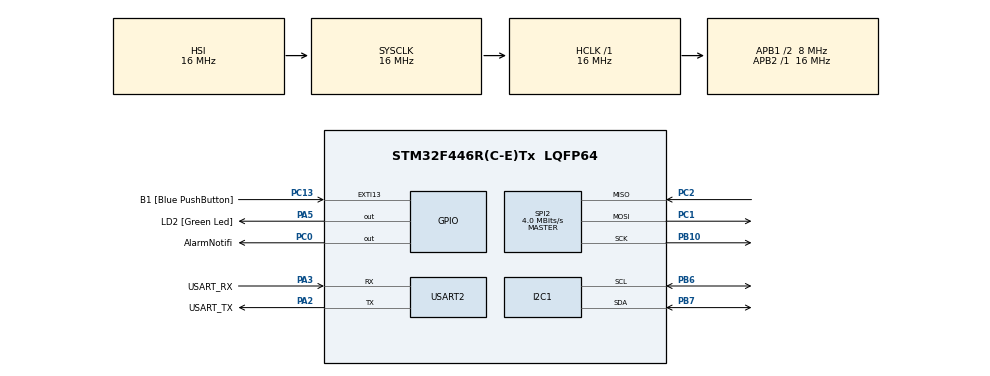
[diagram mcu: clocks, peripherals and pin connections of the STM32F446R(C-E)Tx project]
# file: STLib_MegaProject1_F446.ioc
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Dma.I2C1_RX.0.Direction=DMA_PERIPH_TO_MEMORY
Dma.I2C1_RX.0.FIFOMode=DMA_FIFOMODE_DISABLE
Dma.I2C1_RX.0.Instance=DMA1_Stream0
Dma.I2C1_RX.0.MemDataAlignment=DMA_MDATAALIGN_BYTE
Dma.I2C1_RX.0.MemInc=DMA_MINC_DISABLE
Dma.I2C1_RX.0.Mode=DMA_NORMAL
Dma.I2C1_RX.0.PeriphDataAlignment=DMA_PDATAALIGN_BYTE
Dma.I2C1_RX.0.PeriphInc=DMA_PINC_DISABLE
Dma.I2C1_RX.0.Priority=DMA_PRIORITY_LOW
Dma.I2C1_TX.1.Direction=DMA_MEMORY_TO_PERIPH
Dma.I2C1_TX.1.FIFOMode=DMA_FIFOMODE_DISABLE
Dma.I2C1_TX.1.Instance=DMA1_Stream6
Dma.I2C1_TX.1.MemDataAlignment=DMA_MDATAALIGN_BYTE
Dma.I2C1_TX.1.MemInc=DMA_MINC_DISABLE
Dma.I2C1_TX.1.Mode=DMA_NORMAL
Dma.I2C1_TX.1.PeriphDataAlignment=DMA_PDATAALIGN_BYTE
Dma.I2C1_TX.1.PeriphInc=DMA_PINC_DISABLE
Dma.I2C1_TX.1.Priority=DMA_PRIORITY_LOW
Dma.Request0=I2C1_RX
Dma.Request1=I2C1_TX
Mcu.Family=STM32F4
Mcu.Name=STM32F446R(C-E)Tx
Mcu.Package=LQFP64
NVIC.DMA1_Stream0_IRQn=true\:0\:0\:false\:false\:true\:false\:true\:true
NVIC.DMA1_Stream6_IRQn=true\:0\:0\:false\:false\:true\:false\:true\:true
NVIC.I2C1_EV_IRQn=true\:0\:0\:false\:false\:true\:true\:true\:true
NVIC.PriorityGroup=NVIC_PRIORITYGROUP_0
NVIC.SPI2_IRQn=true\:0\:0\:false\:false\:true\:true\:true\:true
PA13.GPIO_Label=TMS
PA13.Mode=Serial_Wire
PA13.Signal=SYS_JTMS-SWDIO
PA14.GPIO_Label=TCK
PA14.Mode=Serial_Wire
PA14.Signal=SYS_JTCK-SWCLK
PA2.GPIO_Label=USART_TX
PA2.Mode=Asynchronous
PA2.Signal=USART2_TX
PA3.GPIO_Label=USART_RX
PA3.Mode=Asynchronous
PA3.Signal=USART2_RX
PA5.GPIO_Label=LD2 [Green Led]
PA5.Signal=GPIO_Output
PB10.Mode=Full_Duplex_Master
PB10.Signal=SPI2_SCK
PB3.GPIO_Label=SWO
PB3.Signal=SYS_JTDO-SWO
PB6.Mode=I2C
PB6.Signal=I2C1_SCL
PB7.Mode=I2C
PB7.Signal=I2C1_SDA
PC0.GPIO_Label=AlarmNotifi
PC0.Signal=GPIO_Output
PC1.Mode=Full_Duplex_Master
PC1.Signal=SPI2_MOSI
PC13.GPIO_Label=B1 [Blue PushButton]
PC13.GPIO_ModeDefaultEXTI=GPIO_MODE_IT_FALLING
PC13.Signal=GPXTI13
PC14-OSC32_IN.Mode=LSE-External-Oscillator
PC14-OSC32_IN.Signal=RCC_OSC32_IN
PC15-OSC32_OUT.Mode=LSE-External-Oscillator
PC15-OSC32_OUT.Signal=RCC_OSC32_OUT
PC2.Mode=Full_Duplex_Master
PC2.Signal=SPI2_MISO
PH0-OSC_IN.Mode=HSE-External-Oscillator
PH0-OSC_IN.Signal=RCC_OSC_IN
PH1-OSC_OUT.Mode=HSE-External-Oscillator
PH1-OSC_OUT.Signal=RCC_OSC_OUT
ProjectManager.HeapSize=0x200
ProjectManager.StackSize=0x400
ProjectManager.TargetToolchain=STM32CubeIDE
RCC.48MHZClocksFreq_Value=84000000
RCC.AHBFreq_Value=16000000
RCC.APB1CLKDivider=RCC_HCLK_DIV2
RCC.APB1Freq_Value=8000000
RCC.APB1TimFreq_Value=16000000
RCC.APB2Freq_Value=16000000
RCC.APB2TimFreq_Value=16000000
RCC.CortexFreq_Value=16000000
RCC.FLatency-AdvancedSettings=FLASH_LATENCY_0
RCC.HCLKFreq_Value=16000000
RCC.HSE_VALUE=8000000
RCC.HSI_VALUE=16000000
RCC.PLLN=336
RCC.PLLP=RCC_PLLP_DIV4
RCC.SYSCLKFreq_VALUE=16000000
RCC.USBFreq_Value=168000000
RCC.VCOOutputFreq_Value=336000000
SPI2.CalculateBaudRate=4.0 MBits/s
SPI2.Direction=SPI_DIRECTION_2LINES
SPI2.Mode=SPI_MODE_MASTER
SPI2.VirtualType=VM_MASTER
USART2.VirtualMode=VM_ASYNC
board=NUCLEO-F446RE

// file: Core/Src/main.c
/* USER CODE BEGIN Header */
/**
  ******************************************************************************
  * @file           : main.c
  * @brief          : Main program body
  ******************************************************************************
  * @attention
  *
  * Copyright (c) 2023 STMicroelectronics.
  * All rights reserved.
  *
  * This software is licensed under terms that can be found in the LICENSE file
  * in the root directory of this software component.
  * If no LICENSE file comes with this software, it is provided AS-IS.
  *
  ******************************************************************************
  */
/* USER CODE END Header */
#include "main.h"

/* USER CODE BEGIN Includes */

#include <stdio.h>
#include "StringLib.h"
#include "ComMgr.h"
#include "DS1307_interface.h"
#include "Dashboard.h"

/* USER CODE END Includes */

/* USER CODE BEGIN PD */

#define MAX_PASSWORD_ATTEMPTS			(3U)

#define TERMINATE_PROGRAM_CHAR			('0')

/* USER CODE END PD */

I2C_HandleTypeDef hi2c1;
DMA_HandleTypeDef hdma_i2c1_rx;
DMA_HandleTypeDef hdma_i2c1_tx;

SPI_HandleTypeDef hspi2;

UART_HandleTypeDef huart2;

/* USER CODE BEGIN PV */

extern char *AlarmsMessege[5];

extern char AlarmNumber;

const char *UserName = "musa";
const char *Password = "9753";

//const char TerminateChar[1] = {'\n'};

/* USER CODE END PV */

void SystemClock_Config(void);
static void MX_GPIO_Init(void);
static void MX_DMA_Init(void);
static void MX_USART2_UART_Init(void);
static void MX_I2C1_Init(void);
static void MX_SPI2_Init(void);

int main(void)
{
  /* USER CODE BEGIN 1 */

	char Local_cRxBuffer[30] = {0};

	char Local_cSPICode[2] = {0, '\n'};

	uint8_t Local_u8PasswordAttempts;

	uint8_t Local_u8PasswordState;

	uint8_t Local_u8ExitSystem = 0;

  /* USER CODE END 1 */

  /* MCU Configuration--------------------------------------------------------*/

  /* Reset of all peripherals, Initializes the Flash interface and the Systick. */
  HAL_Init();

  /* Configure the system clock */
  SystemClock_Config();

  /* Initialize all configured peripherals */
  MX_GPIO_Init();
  MX_DMA_Init();
  MX_USART2_UART_Init();
  MX_I2C1_Init();
  MX_SPI2_Init();
  /* USER CODE BEGIN 2 */

  DS1307_u8Init();

  /* USER CODE END 2 */

  /* Infinite loop */
  /* USER CODE BEGIN WHILE */
  while (1)
  {
	  Local_u8PasswordAttempts = 1;
	  Local_u8PasswordState = PASSWORD_INCORRECT;

	  if (TERMINATE_PROGRAM_CHAR != Local_u8ExitSystem)
	  {
		  Local_cRxBuffer[0] = 0; /* Clear the receive buffer */

		  /* User name handling */
		  ComMgr_Print("User name: ", StringLength("User name: "), COMMGR_UART_ID);

		  ComMgr_Scan((char *) &Local_cRxBuffer, NOT_PASSWORD, COMMGR_UART_ID);

		  ComMgr_Println("", 0U, COMMGR_UART_ID); /* New Line */

		  if (USER_NAME_INCORRECT == CheckUserName(UserName, Local_cRxBuffer))
		  {
			  ComMgr_Println("\r\nUser name is wrong. Try again...", StringLength("r\nUser name is wrong. Try again..."), COMMGR_UART_ID);
		  }
		  /* Password handling */
		  else
		  {
			  do
			  {
				  ComMgr_Print("Password: ", StringLength("Password: "), COMMGR_UART_ID);

				  ComMgr_Scan((char *) &Local_cRxBuffer, PASSWORD, COMMGR_UART_ID);

				  ComMgr_Println("", 0U, COMMGR_UART_ID); /* New Line */

				  Local_u8PasswordState = CheckPassword(Password, Local_cRxBuffer);

				  if (PASSWORD_INCORRECT == Local_u8PasswordState)
				  {
					  ComMgr_Println("\r\nPasword is not correct. Please, Try again", StringLength("\r\nPasword is not correct. Please, Try again"), COMMGR_UART_ID);
				  }
			  } while (MAX_PASSWORD_ATTEMPTS != Local_u8PasswordAttempts++ && PASSWORD_INCORRECT == Local_u8PasswordState);

			  /* Check for max password trials */
			  if (MAX_PASSWORD_ATTEMPTS == (Local_u8PasswordAttempts - 1U))
			  {
				  Local_cSPICode[0] = COMMGR_SPI_CODE_WRONG_PASSWORD;
				  ComMgr_Println("\r\nYou reached the maximum password trials. Exting the program...", StringLength("\r\nYou reached the maximum password trials. Exting the program..."), COMMGR_UART_ID);
				  /* Turn on the red LED and send SPI code terminating char */
				  ComMgr_Print(Local_cSPICode, 2U, COMMGR_SPI_ID);
				  Local_u8ExitSystem = TERMINATE_PROGRAM_CHAR;
			  }
			  /* Print the main menu and handle the user option */
			  else
			  {
				  Local_cSPICode[0] = COMMGR_SPI_CODE_CORRECT_PASSWORD;
				  /* Turn on the green and send SPI code terminating char */
				  ComMgr_Print(Local_cSPICode, 2U, COMMGR_SPI_ID);

				  PrintMainMenu();

				  /* Get the desired option */
				  ComMgr_Scan((char *) &Local_cRxBuffer, NOT_PASSWORD, COMMGR_UART_ID);

				  ComMgr_Println("", 0U, COMMGR_UART_ID); /* New Line */

				  switch (Local_cRxBuffer[0])
				  {
				  case '1' : Local_cSPICode[0] = COMMGR_SPI_CODE_DISPLAY_TIME_DATE; ComMgr_Print(Local_cSPICode, 2U, COMMGR_SPI_ID); DisplayTimeDate(); break;
				  case '2' : SetTimeDate();	break;
				  case '3' : SetAlarm(); break;
				  case '0' : Local_u8ExitSystem = Local_cRxBuffer[0]; break;
				  default: ComMgr_Println("\r\n\r\nWrong Option. Try again...", StringLength("\r\n\r\nWrong Option. Try again..."), COMMGR_UART_ID); break;
				  }
			  }
		  }
	  }

	  if ((0 == HAL_GetTick() % 1000) && (DoesAlarmCame(AlarmNumber)))
	  {
		  HAL_GPIO_WritePin(GPIOC, GPIO_PIN_0, GPIO_PIN_SET);
		  HAL_Delay(10);
		  HAL_GPIO_WritePin(GPIOC, GPIO_PIN_0, GPIO_PIN_RESET);

		  Local_cSPICode[0] = COMMGR_SPI_CODE_DISPLAY_ALARM_MESSAGE;
		  /* Send display time and date code */
		  ComMgr_Print(&Local_cSPICode[0], 1U, COMMGR_SPI_ID);

		  /* Send alarm name */
		  ComMgr_Print(AlarmsMessege[(uint8_t)(AlarmNumber - '1')], StringLength(AlarmsMessege[(uint8_t)(AlarmNumber - '1')]), COMMGR_SPI_ID);
		  /* Send SPI code terminating char */
		  ComMgr_Print(&Local_cSPICode[1], 1U, COMMGR_SPI_ID);
	  }
    /* USER CODE END WHILE */

  }
}

void SystemClock_Config(void)
{
  RCC_OscInitTypeDef RCC_OscInitStruct = {0};
  RCC_ClkInitTypeDef RCC_ClkInitStruct = {0};

  /** Configure the main internal regulator output voltage
  */
  __HAL_RCC_PWR_CLK_ENABLE();
  __HAL_PWR_VOLTAGESCALING_CONFIG(PWR_REGULATOR_VOLTAGE_SCALE3);

  /** Initializes the RCC Oscillators according to the specified parameters
  * in the RCC_OscInitTypeDef structure.
  */
  RCC_OscInitStruct.OscillatorType = RCC_OSCILLATORTYPE_HSI;
  RCC_OscInitStruct.HSIState = RCC_HSI_ON;
  RCC_OscInitStruct.HSICalibrationValue = RCC_HSICALIBRATION_DEFAULT;
  RCC_OscInitStruct.PLL.PLLState = RCC_PLL_NONE;
  if (HAL_RCC_OscConfig(&RCC_OscInitStruct) != HAL_OK)
  {
    Error_Handler();
  }

  /** Initializes the CPU, AHB and APB buses clocks
  */
  RCC_ClkInitStruct.ClockType = RCC_CLOCKTYPE_HCLK|RCC_CLOCKTYPE_SYSCLK
                              |RCC_CLOCKTYPE_PCLK1|RCC_CLOCKTYPE_PCLK2;
  RCC_ClkInitStruct.SYSCLKSource = RCC_SYSCLKSOURCE_HSI;
  RCC_ClkInitStruct.AHBCLKDivider = RCC_SYSCLK_DIV1;
  RCC_ClkInitStruct.APB1CLKDivider = RCC_HCLK_DIV2;
  RCC_ClkInitStruct.APB2CLKDivider = RCC_HCLK_DIV1;

  if (HAL_RCC_ClockConfig(&RCC_ClkInitStruct, FLASH_LATENCY_0) != HAL_OK)
  {
    Error_Handler();
  }
}

static void MX_I2C1_Init(void)
{

  hi2c1.Instance = I2C1;
  hi2c1.Init.ClockSpeed = 100000;
  hi2c1.Init.DutyCycle = I2C_DUTYCYCLE_2;
  hi2c1.Init.OwnAddress1 = 0;
  hi2c1.Init.AddressingMode = I2C_ADDRESSINGMODE_7BIT;
  hi2c1.Init.DualAddressMode = I2C_DUALADDRESS_DISABLE;
  hi2c1.Init.OwnAddress2 = 0;
  hi2c1.Init.GeneralCallMode = I2C_GENERALCALL_DISABLE;
  hi2c1.Init.NoStretchMode = I2C_NOSTRETCH_DISABLE;
  if (HAL_I2C_Init(&hi2c1) != HAL_OK)
  {
    Error_Handler();
  }

}

static void MX_SPI2_Init(void)
{

  /* SPI2 parameter configuration*/
  hspi2.Instance = SPI2;
  hspi2.Init.Mode = SPI_MODE_MASTER;
  hspi2.Init.Direction = SPI_DIRECTION_2LINES;
  hspi2.Init.DataSize = SPI_DATASIZE_8BIT;
  hspi2.Init.CLKPolarity = SPI_POLARITY_LOW;
  hspi2.Init.CLKPhase = SPI_PHASE_1EDGE;
  hspi2.Init.NSS = SPI_NSS_SOFT;
  hspi2.Init.BaudRatePrescaler = SPI_BAUDRATEPRESCALER_2;
  hspi2.Init.FirstBit = SPI_FIRSTBIT_MSB;
  hspi2.Init.TIMode = SPI_TIMODE_DISABLE;
  hspi2.Init.CRCCalculation = SPI_CRCCALCULATION_DISABLE;
  hspi2.Init.CRCPolynomial = 10;
  if (HAL_SPI_Init(&hspi2) != HAL_OK)
  {
    Error_Handler();
  }

}

static void MX_USART2_UART_Init(void)
{

  huart2.Instance = USART2;
  huart2.Init.BaudRate = 115200;
  huart2.Init.WordLength = UART_WORDLENGTH_8B;
  huart2.Init.StopBits = UART_STOPBITS_1;
  huart2.Init.Parity = UART_PARITY_NONE;
  huart2.Init.Mode = UART_MODE_TX_RX;
  huart2.Init.HwFlowCtl = UART_HWCONTROL_NONE;
  huart2.Init.OverSampling = UART_OVERSAMPLING_16;
  if (HAL_UART_Init(&huart2) != HAL_OK)
  {
    Error_Handler();
  }

}

static void MX_DMA_Init(void)
{

  /* DMA controller clock enable */
  __HAL_RCC_DMA1_CLK_ENABLE();

  /* DMA interrupt init */
  /* DMA1_Stream0_IRQn interrupt configuration */
  HAL_NVIC_SetPriority(DMA1_Stream0_IRQn, 0, 0);
  HAL_NVIC_EnableIRQ(DMA1_Stream0_IRQn);
  /* DMA1_Stream6_IRQn interrupt configuration */
  HAL_NVIC_SetPriority(DMA1_Stream6_IRQn, 0, 0);
  HAL_NVIC_EnableIRQ(DMA1_Stream6_IRQn);

}

static void MX_GPIO_Init(void)
{
  GPIO_InitTypeDef GPIO_InitStruct = {0};

  /* GPIO Ports Clock Enable */
  __HAL_RCC_GPIOC_CLK_ENABLE();
  __HAL_RCC_GPIOH_CLK_ENABLE();
  __HAL_RCC_GPIOA_CLK_ENABLE();
  __HAL_RCC_GPIOB_CLK_ENABLE();

  /*Configure GPIO pin Output Level */
  HAL_GPIO_WritePin(AlarmNotifi_GPIO_Port, AlarmNotifi_Pin, GPIO_PIN_RESET);

  /*Configure GPIO pin Output Level */
  HAL_GPIO_WritePin(LD2_GPIO_Port, LD2_Pin, GPIO_PIN_RESET);

  /*Configure GPIO pin : B1_Pin */
  GPIO_InitStruct.Pin = B1_Pin;
  GPIO_InitStruct.Mode = GPIO_MODE_IT_FALLING;
  GPIO_InitStruct.Pull = GPIO_NOPULL;
  HAL_GPIO_Init(B1_GPIO_Port, &GPIO_InitStruct);

  /*Configure GPIO pin : AlarmNotifi_Pin */
  GPIO_InitStruct.Pin = AlarmNotifi_Pin;
  GPIO_InitStruct.Mode = GPIO_MODE_OUTPUT_PP;
  GPIO_InitStruct.Pull = GPIO_NOPULL;
  GPIO_InitStruct.Speed = GPIO_SPEED_FREQ_LOW;
  HAL_GPIO_Init(AlarmNotifi_GPIO_Port, &GPIO_InitStruct);

  /*Configure GPIO pin : LD2_Pin */
  GPIO_InitStruct.Pin = LD2_Pin;
  GPIO_InitStruct.Mode = GPIO_MODE_OUTPUT_PP;
  GPIO_InitStruct.Pull = GPIO_NOPULL;
  GPIO_InitStruct.Speed = GPIO_SPEED_FREQ_LOW;
  HAL_GPIO_Init(LD2_GPIO_Port, &GPIO_InitStruct);

}

/* USER CODE BEGIN 4 */

int _write(int file, char *ptr, int len)
{
  (void)file;
  int DataIdx;

  for (DataIdx = 0; DataIdx < len; DataIdx++)
  {
    ITM_SendChar(*ptr++);
  }
  return len;
}

/* USER CODE END 4 */

void Error_Handler(void)
{
  __disable_irq();
  while (1)
  {
  }
}
